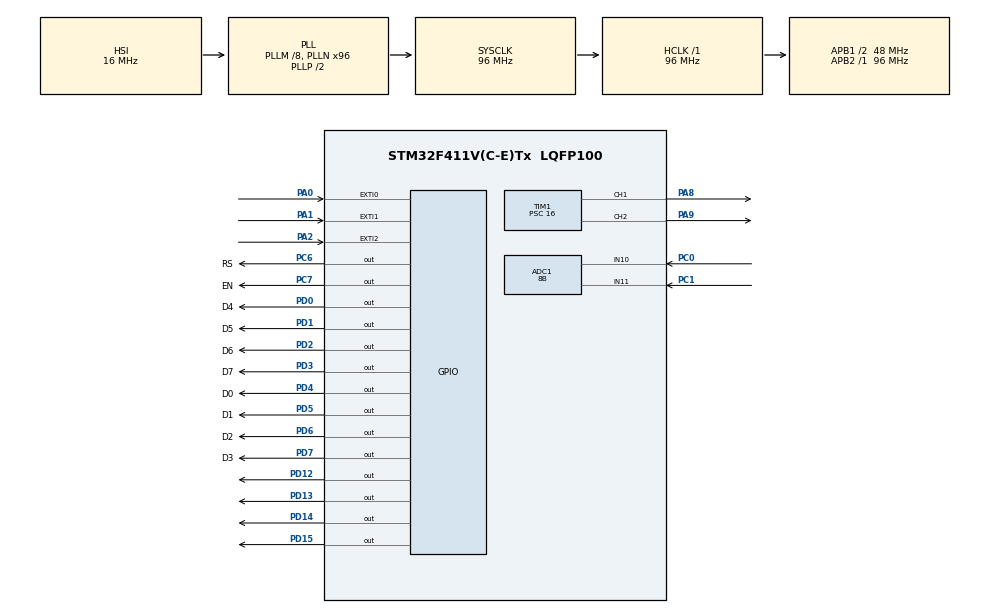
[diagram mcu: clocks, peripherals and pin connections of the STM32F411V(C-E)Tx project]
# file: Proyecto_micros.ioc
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ADC1.Channel-3\#ChannelRegularConversion=ADC_CHANNEL_10
ADC1.Channel-4\#ChannelRegularConversion=ADC_CHANNEL_11
ADC1.ClockPrescaler=ADC_CLOCK_SYNC_PCLK_DIV8
ADC1.ContinuousConvMode=ENABLE
ADC1.DMAContinuousRequests=ENABLE
ADC1.NbrOfConversion=2
ADC1.NbrOfConversionFlag=1
ADC1.Rank-3\#ChannelRegularConversion=1
ADC1.Rank-4\#ChannelRegularConversion=2
ADC1.Resolution=ADC_RESOLUTION_8B
ADC1.SamplingTime-3\#ChannelRegularConversion=ADC_SAMPLETIME_3CYCLES
ADC1.SamplingTime-4\#ChannelRegularConversion=ADC_SAMPLETIME_3CYCLES
ADC1.ScanConvMode=ENABLE
ADC1.master=1
Dma.ADC1.0.Direction=DMA_PERIPH_TO_MEMORY
Dma.ADC1.0.FIFOMode=DMA_FIFOMODE_DISABLE
Dma.ADC1.0.Instance=DMA2_Stream0
Dma.ADC1.0.MemDataAlignment=DMA_MDATAALIGN_BYTE
Dma.ADC1.0.MemInc=DMA_MINC_ENABLE
Dma.ADC1.0.Mode=DMA_CIRCULAR
Dma.ADC1.0.PeriphDataAlignment=DMA_PDATAALIGN_BYTE
Dma.ADC1.0.PeriphInc=DMA_PINC_DISABLE
Dma.ADC1.0.Priority=DMA_PRIORITY_LOW
Dma.Request0=ADC1
Mcu.Family=STM32F4
Mcu.Name=STM32F411V(C-E)Tx
Mcu.Package=LQFP100
NVIC.DMA2_Stream0_IRQn=true\:0\:0\:false\:false\:true\:false
NVIC.EXTI1_IRQn=true\:0\:0\:false\:false\:true\:true
NVIC.PriorityGroup=NVIC_PRIORITYGROUP_4
PA0-WKUP.GPIO_ModeDefaultEXTI=GPIO_MODE_IT_FALLING
PA0-WKUP.Signal=GPXTI0
PA1.GPIO_ModeDefaultEXTI=GPIO_MODE_IT_FALLING
PA1.Signal=GPXTI1
PA2.GPIO_ModeDefaultEXTI=GPIO_MODE_IT_FALLING
PA2.Signal=GPXTI2
PA8.Signal=S_TIM1_CH1
PA9.Signal=S_TIM1_CH2
PC0.Signal=ADCx_IN10
PC1.Signal=ADCx_IN11
PC6.GPIO_Label=RS
PC6.Signal=GPIO_Output
PC7.GPIO_Label=EN
PC7.Signal=GPIO_Output
PD0.GPIO_Label=D4
PD0.Signal=GPIO_Output
PD1.GPIO_Label=D5
PD1.Signal=GPIO_Output
PD12.Signal=GPIO_Output
PD13.Signal=GPIO_Output
PD14.Signal=GPIO_Output
PD15.Signal=GPIO_Output
PD2.GPIO_Label=D6
PD2.Signal=GPIO_Output
PD3.GPIO_Label=D7
PD3.Signal=GPIO_Output
PD4.GPIO_Label=D0
PD4.Signal=GPIO_Output
PD5.GPIO_Label=D1
PD5.Signal=GPIO_Output
PD6.GPIO_Label=D2
PD6.Signal=GPIO_Output
PD7.GPIO_Label=D3
PD7.Signal=GPIO_Output
ProjectManager.HeapSize=0x200
ProjectManager.StackSize=0x400
ProjectManager.TargetToolchain=MDK-ARM V5
RCC.48MHZClocksFreq_Value=48000000
RCC.AHBFreq_Value=96000000
RCC.APB1CLKDivider=RCC_HCLK_DIV2
RCC.APB1Freq_Value=48000000
RCC.APB1TimFreq_Value=96000000
RCC.APB2Freq_Value=96000000
RCC.APB2TimFreq_Value=96000000
RCC.CortexFreq_Value=96000000
RCC.HCLKFreq_Value=96000000
RCC.HSE_VALUE=25000000
RCC.HSI_VALUE=16000000
RCC.LSE_VALUE=32768
RCC.PLLM=8
RCC.PLLN=96
RCC.SYSCLKFreq_VALUE=96000000
RCC.SYSCLKSource=RCC_SYSCLKSOURCE_PLLCLK
RCC.VCOOutputFreq_Value=192000000
SH.ADCx_IN10.0=ADC1_IN10,IN10
SH.ADCx_IN11.0=ADC1_IN11,IN11
SH.S_TIM1_CH1.0=TIM1_CH1,PWM Generation1 CH1
SH.S_TIM1_CH2.0=TIM1_CH2,PWM Generation2 CH2
TIM1.Channel-PWM\ Generation1\ CH1=TIM_CHANNEL_1
TIM1.Channel-PWM\ Generation2\ CH2=TIM_CHANNEL_2
TIM1.Period=255
TIM1.Prescaler=16
TIM1.Pulse-PWM\ Generation2\ CH2=120
VP_TIM1_VS_ClockSourceINT.Mode=Internal
board=custom

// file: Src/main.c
/* USER CODE BEGIN Header */
/**
  ******************************************************************************
  * @file           : main.c
  * @brief          : Main program body
  ******************************************************************************
  ** This notice applies to any and all portions of this file
  * that are not between comment pairs USER CODE BEGIN and
  * USER CODE END. Other portions of this file, whether
  * inserted by the user or by software development tools
  * are owned by their respective copyright owners.
  *
  * COPYRIGHT(c) 2018 STMicroelectronics
  *
  * Redistribution and use in source and binary forms, with or without modification,
  * are permitted provided that the following conditions are met:
  *   1. Redistributions of source code must retain the above copyright notice,
  *      this list of conditions and the following disclaimer.
  *   2. Redistributions in binary form must reproduce the above copyright notice,
  *      this list of conditions and the following disclaimer in the documentation
  *      and/or other materials provided with the distribution.
  *   3. Neither the name of STMicroelectronics nor the names of its contributors
  *      may be used to endorse or promote products derived from this software
  *      without specific prior written permission.
  *
  * THIS SOFTWARE IS PROVIDED BY THE COPYRIGHT HOLDERS AND CONTRIBUTORS "AS IS"
  * AND ANY EXPRESS OR IMPLIED WARRANTIES, INCLUDING, BUT NOT LIMITED TO, THE
  * IMPLIED WARRANTIES OF MERCHANTABILITY AND FITNESS FOR A PARTICULAR PURPOSE ARE
  * DISCLAIMED. IN NO EVENT SHALL THE COPYRIGHT HOLDER OR CONTRIBUTORS BE LIABLE
  * FOR ANY DIRECT, INDIRECT, INCIDENTAL, SPECIAL, EXEMPLARY, OR CONSEQUENTIAL
  * DAMAGES (INCLUDING, BUT NOT LIMITED TO, PROCUREMENT OF SUBSTITUTE GOODS OR
  * SERVICES; LOSS OF USE, DATA, OR PROFITS; OR BUSINESS INTERRUPTION) HOWEVER
  * CAUSED AND ON ANY THEORY OF LIABILITY, WHETHER IN CONTRACT, STRICT LIABILITY,
  * OR TORT (INCLUDING NEGLIGENCE OR OTHERWISE) ARISING IN ANY WAY OUT OF THE USE
  * OF THIS SOFTWARE, EVEN IF ADVISED OF THE POSSIBILITY OF SUCH DAMAGE.
  *
  ******************************************************************************
  */
/* USER CODE END Header */

#include "main.h"

/* USER CODE BEGIN Includes */
#include "lcd.h"
/* USER CODE END Includes */

/* USER CODE BEGIN PTD */
struct PID{
  float Kp;
  float Ki;
  float Kd;
  float OUTPUT;
  float error;
  float error_prev;
  int low_limit;
  int high_limit;
};
/* USER CODE END PTD */

/* USER CODE BEGIN PD */
#define REF_VAL_0 150
#define LUX_LOW_LIMIT 50
/* USER CODE END PD */

ADC_HandleTypeDef hadc1;
DMA_HandleTypeDef hdma_adc1;

TIM_HandleTypeDef htim1;

/* USER CODE BEGIN PV */
uint8_t LDR1, LDR2;       //LDR1 --> Interior, LDR2 --> Exterior
float LDR_USE;
int REF_VAL_TEMP;
int REF_VAL_DEF;

int FDC_TOP, FDC_BOT;

float error_signal;

int flag_less = 0, flag_more = 0, flag_fix = 0;

//***********************Valores de las salidas de los PWM********************/
int PWM_motor;
int PWM_led;
/* USER CODE END PV */

void SystemClock_Config(void);
static void MX_GPIO_Init(void);
static void MX_DMA_Init(void);
static void MX_ADC1_Init(void);
static void MX_TIM1_Init(void);

/* USER CODE BEGIN 0 */
/****************************************************************************/
/**************************MANEJO DE INTERRUPCIONES**************************/
/****************************************************************************/
void HAL_GPIO_EXTI_Callback(uint16_t GPIO_Pin){
  /***********************INTERRUPCIONES BOTONERA****************************/
  if (GPIO_Pin == GPIO_PIN_0){
		if (flag_fix == 0) flag_fix = 1;
  }
	else if (GPIO_Pin == GPIO_PIN_2){
		if (flag_more == 0) flag_more = 1;
  }
  else if (GPIO_Pin == GPIO_PIN_1){
		if (flag_less == 0) flag_less = 1;
  }

  /******************INTERRUPCIONES FINALES DE CARRERA***********************/
  /*else if (GPIO_Pin == GPIO_PIN_3){
    FDC_TOP = 1;
  }
  else if (GPIO_Pin == GPIO_PIN_4){
    FDC_BOT = 1;
  }*/
}

/****************************************************************************/
/******************FUNCION PARA EL USO DE LOS PIDS***************************/
/****************************************************************************/
void pid_compute(struct PID* mypid, float error){
  mypid->error_prev = mypid->error;
  mypid->error = error;
  mypid->OUTPUT = mypid->Kp*mypid->error + mypid->Ki*(mypid->error_prev+
    mypid->error)/2 + mypid->Kd*(mypid->error-mypid->error_prev);
  if (mypid->OUTPUT > mypid->high_limit) mypid->OUTPUT = mypid->high_limit;
  if (mypid->OUTPUT < mypid->low_limit) mypid->OUTPUT = mypid->low_limit;
}

/*****************************************************************************/
/***************FUNCION PARA HACER UN CLEAR DE LA PANTALLA********************/
/*****************************************************************************/
void Lcd_clear(Lcd_HandleTypeDef* lcd){
	Lcd_cursor(lcd, 0, 0);
	Lcd_string(lcd, "                ");
	Lcd_cursor(lcd, 1, 0);
	Lcd_string(lcd, "                ");
	Lcd_cursor(lcd, 0, 0);
}
/* USER CODE END 0 */

int main(void)
{

  /* MCU Configuration--------------------------------------------------------*/

  /* Reset of all peripherals, Initializes the Flash interface and the Systick. */
  HAL_Init();

  /* USER CODE BEGIN Init */
  REF_VAL_DEF = REF_VAL_0;
  REF_VAL_TEMP = REF_VAL_0;
  /* USER CODE END Init */

  /* Configure the system clock */
  SystemClock_Config();

  /* Initialize all configured peripherals */
  MX_GPIO_Init();
  MX_DMA_Init();
  MX_ADC1_Init();
  MX_TIM1_Init();
  /* USER CODE BEGIN 2 */
  /**************************************************************************/
  /***********Inicialización de los PID para usarlos en el loop**************/
  /**************************************************************************/
  struct PID pid_motor;
  pid_motor.Kp = 2.5;
  pid_motor.Ki = 1;
  pid_motor.Kd = 1;
  pid_motor.low_limit = -255;
  pid_motor.low_limit = 255;

  struct PID pid_led;
  pid_led.Kp = 2.5;
  pid_led.Ki = 1;
  pid_led.Kd = 1;
  pid_led.low_limit = 0;
  pid_led.high_limit = 255;

  pid_motor.error = 0;
  pid_motor.error_prev = 0;
  pid_led.error = 0;
  pid_led.error_prev = 0;
  /**************************************************************************/
  /*******************Inicializacion de los timers de los PWM****************/
  /**************************************************************************/
  HAL_TIM_PWM_Start(&htim1, TIM_CHANNEL_1);
  HAL_TIM_PWM_Start(&htim1, TIM_CHANNEL_2);
  /**************************************************************************/
  /*******************Inicialización de la pantalla LCD 16x2*****************/
  /**************************************************************************/
  Lcd_PortType ports[] = {D0_GPIO_Port, D1_GPIO_Port, D2_GPIO_Port, D3_GPIO_Port,
		D4_GPIO_Port, D5_GPIO_Port, D6_GPIO_Port, D7_GPIO_Port};

	Lcd_PinType pins[] = {D0_Pin, D1_Pin, D2_Pin, D3_Pin, D4_Pin, D5_Pin, D6_Pin, D7_Pin};

	Lcd_HandleTypeDef lcd;

	lcd = Lcd_create(ports, pins, RS_GPIO_Port, RS_Pin, EN_GPIO_Port, EN_Pin, LCD_8_BIT_MODE);
  /***************************************************************************/
  /************Mensaje inicial lanzado al usuario antes del bucle*************/
  /***************************************************************************/
  Lcd_string(&lcd, "Welcome. Domotic");
  Lcd_cursor(&lcd, 1, 0);
	Lcd_string(&lcd, "system by: ");
  HAL_Delay(1500);
  Lcd_clear(&lcd);
	Lcd_string(&lcd, "Alvaro P. M.");
	Lcd_cursor(&lcd, 1, 0);
	Lcd_string(&lcd, "Emilio M.R.");
	HAL_Delay(1500);
  Lcd_clear(&lcd);
  Lcd_string(&lcd, "Emilio P.B.");
  HAL_Delay(1500);
	Lcd_clear(&lcd);
  /* USER CODE END 2 */

  /* Infinite loop */
  while (1)
  {

    /* USER CODE BEGIN 3 */
		//**********************************************************************
		//********GESTION DE LAS BANDERAS GENERADAS POR EL GESTOR DE ***********
		//**************************INTERRUPCIONES******************************
		//**********************************************************************
		if (flag_less == 1){
			REF_VAL_TEMP--;
			flag_less = 0;
		}

		if (flag_more == 1){
			REF_VAL_TEMP++;
			flag_more = 0;
		}

		if (flag_fix == 1){
			REF_VAL_DEF = REF_VAL_TEMP;
			flag_fix = 0;
		}
    //**********************************************************************
    //************lectura de los valores analógicos de los sensores*********
    //**********************************************************************
    HAL_ADC_Start(&hadc1);
    if (HAL_ADC_PollForConversion(&hadc1, ADC_FLAG_EOC) == HAL_OK){
      LDR1 = HAL_ADC_GetValue(&hadc1);
    }
    if (HAL_ADC_PollForConversion(&hadc1, ADC_FLAG_EOC) == HAL_OK){
      LDR2 = HAL_ADC_GetValue(&hadc1);
    }
    HAL_ADC_Stop(&hadc1);

    LDR_USE = LDR1 - LDR2;
    /************************************************************************/
    /******CODIGO DE PRUEBA PARA EL USO DE LAS LECTURAS DE LOS SENSORAS******/
    /******Y PARA COMPROBAR LA CORRECTA GESTION DE LAS INTERRUPCIONES********/
    /************************************************************************/
    switch(REF_VAL_DEF%4){
      case 0:
        HAL_GPIO_WritePin(GPIOD, GPIO_PIN_12, 1);
        HAL_GPIO_WritePin(GPIOD, GPIO_PIN_13|GPIO_PIN_14|GPIO_PIN_15, 0);
        break;
      case 1:
        HAL_GPIO_WritePin(GPIOD, GPIO_PIN_13, 1);
        HAL_GPIO_WritePin(GPIOD, GPIO_PIN_12|GPIO_PIN_14|GPIO_PIN_15, 0);
        break;
      case 2:
        HAL_GPIO_WritePin(GPIOD, GPIO_PIN_14, 1);
        HAL_GPIO_WritePin(GPIOD, GPIO_PIN_13|GPIO_PIN_12|GPIO_PIN_15, 0);
        break;
      case 3:
        HAL_GPIO_WritePin(GPIOD, GPIO_PIN_15, 1);
        HAL_GPIO_WritePin(GPIOD, GPIO_PIN_13|GPIO_PIN_14|GPIO_PIN_12, 0);
        break;
    }
    /************************************************************************/
    /*******GESTION DE LOS PID PARA EL USO DEL MOTOR ASI COMO DE LOS LED*****/
    /************************************************************************/
    error_signal = REF_VAL_DEF - LDR1;
    pid_compute(&pid_motor, error_signal);
    pid_compute(&pid_led, error_signal);

    /*******Se pretende priorizar el uso de la persiana ante el uso de los***/
    /*******LED; excepto en el caso en el que no haya suficiente luz en el***/
    /*******exterior, donde la persiana se bajará completamente**************/
    if(pid_motor.OUTPUT >= 0){
      //Activa el controlador para que vaya en un sentido
    }

    else if (pid_motor.OUTPUT <= 0){
      //Activa el controlador para que vaya en el otro sentido
      pid_motor.OUTPUT = -pid_motor.OUTPUT;
    }

    if (LDR2 < LUX_LOW_LIMIT){
      //Baja la persiana porque no es util
      if(!FDC_BOT){
        PWM_motor = -50;
      }
      else if(FDC_BOT){
        PWM_motor = 0;
      }
      PWM_led = pid_led.OUTPUT;
    }

    else if (LDR2 >= LUX_LOW_LIMIT && !FDC_TOP){
      //Prioriza la persiana sobre el LED
      PWM_led = 0;
      PWM_motor = pid_motor.OUTPUT;
    }

    else if (LDR2 >= LUX_LOW_LIMIT && FDC_TOP){
      //Uso del LED puesto que persiana está totalmente subida
      if (error_signal < 0){
        //Hay más luz de la deseada
        PWM_led = pid_motor.OUTPUT;
        PWM_motor = pid_motor.OUTPUT;
      }
      else if (error_signal > 0){
        PWM_motor = 0;
        PWM_led = pid_led.OUTPUT;
      }
    }
    /**********************************************************************/
    /*************USO DE LOS PWM CON LOS VALORES CALCULADOS****************/
    /**********************************************************************/
    htim1.Instance->CCR1 = PWM_led;
    htim1.Instance->CCR2 = PWM_motor;
    /***********************************************************************/
    /*******USO DE LA PANTALLA LCD 16x2 PARA MOSTRAR LA LUMINOSIDAD*********/
    /***********************************************************************/
    Lcd_string(&lcd, "Rea.  Val.  Ref.");
    Lcd_cursor(&lcd, 1, 0);
		Lcd_int(&lcd, LDR1);
		Lcd_cursor(&lcd, 1, 6);
		Lcd_int(&lcd, REF_VAL_TEMP);
		Lcd_cursor(&lcd, 1, 13);
		Lcd_int(&lcd, REF_VAL_DEF);
	}
  /* USER CODE END 3 */
}

void SystemClock_Config(void)
{
  RCC_OscInitTypeDef RCC_OscInitStruct = {0};
  RCC_ClkInitTypeDef RCC_ClkInitStruct = {0};

  /**Configure the main internal regulator output voltage
  */
  __HAL_RCC_PWR_CLK_ENABLE();
  __HAL_PWR_VOLTAGESCALING_CONFIG(PWR_REGULATOR_VOLTAGE_SCALE1);
  /**Initializes the CPU, AHB and APB busses clocks
  */
  RCC_OscInitStruct.OscillatorType = RCC_OSCILLATORTYPE_HSI;
  RCC_OscInitStruct.HSIState = RCC_HSI_ON;
  RCC_OscInitStruct.HSICalibrationValue = RCC_HSICALIBRATION_DEFAULT;
  RCC_OscInitStruct.PLL.PLLState = RCC_PLL_ON;
  RCC_OscInitStruct.PLL.PLLSource = RCC_PLLSOURCE_HSI;
  RCC_OscInitStruct.PLL.PLLM = 8;
  RCC_OscInitStruct.PLL.PLLN = 96;
  RCC_OscInitStruct.PLL.PLLP = RCC_PLLP_DIV2;
  RCC_OscInitStruct.PLL.PLLQ = 4;
  if (HAL_RCC_OscConfig(&RCC_OscInitStruct) != HAL_OK)
  {
    Error_Handler();
  }
  /**Initializes the CPU, AHB and APB busses clocks
  */
  RCC_ClkInitStruct.ClockType = RCC_CLOCKTYPE_HCLK|RCC_CLOCKTYPE_SYSCLK
                              |RCC_CLOCKTYPE_PCLK1|RCC_CLOCKTYPE_PCLK2;
  RCC_ClkInitStruct.SYSCLKSource = RCC_SYSCLKSOURCE_PLLCLK;
  RCC_ClkInitStruct.AHBCLKDivider = RCC_SYSCLK_DIV1;
  RCC_ClkInitStruct.APB1CLKDivider = RCC_HCLK_DIV2;
  RCC_ClkInitStruct.APB2CLKDivider = RCC_HCLK_DIV1;

  if (HAL_RCC_ClockConfig(&RCC_ClkInitStruct, FLASH_LATENCY_3) != HAL_OK)
  {
    Error_Handler();
  }
}

static void MX_ADC1_Init(void)
{

  ADC_ChannelConfTypeDef sConfig = {0};

  /**Configure the global features of the ADC (Clock, Resolution, Data Alignment and number of conversion)
  */
  hadc1.Instance = ADC1;
  hadc1.Init.ClockPrescaler = ADC_CLOCK_SYNC_PCLK_DIV8;
  hadc1.Init.Resolution = ADC_RESOLUTION_8B;
  hadc1.Init.ScanConvMode = ENABLE;
  hadc1.Init.ContinuousConvMode = ENABLE;
  hadc1.Init.DiscontinuousConvMode = DISABLE;
  hadc1.Init.ExternalTrigConvEdge = ADC_EXTERNALTRIGCONVEDGE_NONE;
  hadc1.Init.ExternalTrigConv = ADC_SOFTWARE_START;
  hadc1.Init.DataAlign = ADC_DATAALIGN_RIGHT;
  hadc1.Init.NbrOfConversion = 2;
  hadc1.Init.DMAContinuousRequests = ENABLE;
  hadc1.Init.EOCSelection = ADC_EOC_SINGLE_CONV;
  if (HAL_ADC_Init(&hadc1) != HAL_OK)
  {
    Error_Handler();
  }
  /**Configure for the selected ADC regular channel its corresponding rank in the sequencer and its sample time.
  */
  sConfig.Channel = ADC_CHANNEL_10;
  sConfig.Rank = 1;
  sConfig.SamplingTime = ADC_SAMPLETIME_3CYCLES;
  if (HAL_ADC_ConfigChannel(&hadc1, &sConfig) != HAL_OK)
  {
    Error_Handler();
  }
  /**Configure for the selected ADC regular channel its corresponding rank in the sequencer and its sample time.
  */
  sConfig.Channel = ADC_CHANNEL_11;
  sConfig.Rank = 2;
  if (HAL_ADC_ConfigChannel(&hadc1, &sConfig) != HAL_OK)
  {
    Error_Handler();
  }

}

static void MX_TIM1_Init(void)
{

  TIM_ClockConfigTypeDef sClockSourceConfig = {0};
  TIM_MasterConfigTypeDef sMasterConfig = {0};
  TIM_OC_InitTypeDef sConfigOC = {0};
  TIM_BreakDeadTimeConfigTypeDef sBreakDeadTimeConfig = {0};

  htim1.Instance = TIM1;
  htim1.Init.Prescaler = 16;
  htim1.Init.CounterMode = TIM_COUNTERMODE_UP;
  htim1.Init.Period = 255;
  htim1.Init.ClockDivision = TIM_CLOCKDIVISION_DIV1;
  htim1.Init.RepetitionCounter = 0;
  if (HAL_TIM_Base_Init(&htim1) != HAL_OK)
  {
    Error_Handler();
  }
  sClockSourceConfig.ClockSource = TIM_CLOCKSOURCE_INTERNAL;
  if (HAL_TIM_ConfigClockSource(&htim1, &sClockSourceConfig) != HAL_OK)
  {
    Error_Handler();
  }
  if (HAL_TIM_PWM_Init(&htim1) != HAL_OK)
  {
    Error_Handler();
  }
  sMasterConfig.MasterOutputTrigger = TIM_TRGO_RESET;
  sMasterConfig.MasterSlaveMode = TIM_MASTERSLAVEMODE_DISABLE;
  if (HAL_TIMEx_MasterConfigSynchronization(&htim1, &sMasterConfig) != HAL_OK)
  {
    Error_Handler();
  }
  sConfigOC.OCMode = TIM_OCMODE_PWM1;
  sConfigOC.Pulse = 0;
  sConfigOC.OCPolarity = TIM_OCPOLARITY_HIGH;
  sConfigOC.OCNPolarity = TIM_OCNPOLARITY_HIGH;
  sConfigOC.OCFastMode = TIM_OCFAST_DISABLE;
  sConfigOC.OCIdleState = TIM_OCIDLESTATE_RESET;
  sConfigOC.OCNIdleState = TIM_OCNIDLESTATE_RESET;
  if (HAL_TIM_PWM_ConfigChannel(&htim1, &sConfigOC, TIM_CHANNEL_1) != HAL_OK)
  {
    Error_Handler();
  }
  sConfigOC.Pulse = 120;
  if (HAL_TIM_PWM_ConfigChannel(&htim1, &sConfigOC, TIM_CHANNEL_2) != HAL_OK)
  {
    Error_Handler();
  }
  sBreakDeadTimeConfig.OffStateRunMode = TIM_OSSR_DISABLE;
  sBreakDeadTimeConfig.OffStateIDLEMode = TIM_OSSI_DISABLE;
  sBreakDeadTimeConfig.LockLevel = TIM_LOCKLEVEL_OFF;
  sBreakDeadTimeConfig.DeadTime = 0;
  sBreakDeadTimeConfig.BreakState = TIM_BREAK_DISABLE;
  sBreakDeadTimeConfig.BreakPolarity = TIM_BREAKPOLARITY_HIGH;
  sBreakDeadTimeConfig.AutomaticOutput = TIM_AUTOMATICOUTPUT_DISABLE;
  if (HAL_TIMEx_ConfigBreakDeadTime(&htim1, &sBreakDeadTimeConfig) != HAL_OK)
  {
    Error_Handler();
  }
  HAL_TIM_MspPostInit(&htim1);

}

static void MX_DMA_Init(void)
{
  /* DMA controller clock enable */
  __HAL_RCC_DMA2_CLK_ENABLE();

  /* DMA interrupt init */
  /* DMA2_Stream0_IRQn interrupt configuration */
  HAL_NVIC_SetPriority(DMA2_Stream0_IRQn, 0, 0);
  HAL_NVIC_EnableIRQ(DMA2_Stream0_IRQn);

}

static void MX_GPIO_Init(void)
{
  GPIO_InitTypeDef GPIO_InitStruct = {0};

  /* GPIO Ports Clock Enable */
  __HAL_RCC_GPIOC_CLK_ENABLE();
  __HAL_RCC_GPIOA_CLK_ENABLE();
  __HAL_RCC_GPIOD_CLK_ENABLE();

  /*Configure GPIO pin Output Level */
  HAL_GPIO_WritePin(GPIOD, GPIO_PIN_12|GPIO_PIN_13|GPIO_PIN_14|GPIO_PIN_15
                          |D4_Pin|D5_Pin|D6_Pin|D7_Pin
                          |D0_Pin|D1_Pin|D2_Pin|D3_Pin, GPIO_PIN_RESET);

  /*Configure GPIO pin Output Level */
  HAL_GPIO_WritePin(GPIOC, RS_Pin|EN_Pin, GPIO_PIN_RESET);

  /*Configure GPIO pins : PA0 PA1 PA2 */
  GPIO_InitStruct.Pin = GPIO_PIN_0|GPIO_PIN_1|GPIO_PIN_2;
  GPIO_InitStruct.Mode = GPIO_MODE_IT_FALLING;
  GPIO_InitStruct.Pull = GPIO_NOPULL;
  HAL_GPIO_Init(GPIOA, &GPIO_InitStruct);

  /*Configure GPIO pins : PD12 PD13 PD14 PD15
                           D4_Pin D5_Pin D6_Pin D7_Pin
                           D0_Pin D1_Pin D2_Pin D3_Pin */
  GPIO_InitStruct.Pin = GPIO_PIN_12|GPIO_PIN_13|GPIO_PIN_14|GPIO_PIN_15
                          |D4_Pin|D5_Pin|D6_Pin|D7_Pin
                          |D0_Pin|D1_Pin|D2_Pin|D3_Pin;
  GPIO_InitStruct.Mode = GPIO_MODE_OUTPUT_PP;
  GPIO_InitStruct.Pull = GPIO_NOPULL;
  GPIO_InitStruct.Speed = GPIO_SPEED_FREQ_LOW;
  HAL_GPIO_Init(GPIOD, &GPIO_InitStruct);

  /*Configure GPIO pins : RS_Pin EN_Pin */
  GPIO_InitStruct.Pin = RS_Pin|EN_Pin;
  GPIO_InitStruct.Mode = GPIO_MODE_OUTPUT_PP;
  GPIO_InitStruct.Pull = GPIO_NOPULL;
  GPIO_InitStruct.Speed = GPIO_SPEED_FREQ_LOW;
  HAL_GPIO_Init(GPIOC, &GPIO_InitStruct);

  /* EXTI interrupt init*/
  HAL_NVIC_SetPriority(EXTI1_IRQn, 0, 0);
  HAL_NVIC_EnableIRQ(EXTI1_IRQn);

}

void Error_Handler(void)
{
}

/************************ (C) COPYRIGHT STMicroelectronics *****END OF FILE****/
